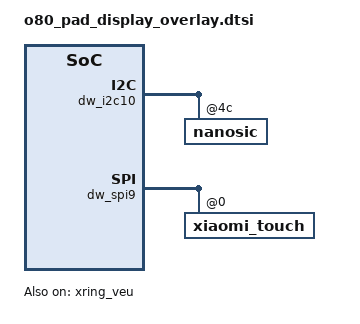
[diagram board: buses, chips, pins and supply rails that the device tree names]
// SPDX-License-Identifier: GPL-2.0+
/*
 * Display subsystem overlay dts for X-Ring Franklin
 *
 * (C) Copyright 2023 - 2023, X-Ring, Inc.
 */
#include "../../../../panel/fake_dsi_panel.dtsi"
#include "../../../../panel/dsi_panel_o80_42_02_0a_p1_dualdsi_dsc_cmd.dtsi"
#include "../../../../panel/dsi_panel_o80_42_02_0a_p2_dualdsi_dsc_cmd.dtsi"
#include "../../../../panel/dsi_panel_o80_42_02_0a_p3_dualdsi_dsc_cmd.dtsi"
#include <dt-bindings/xring/platform-specific/pmic/pmic_regulator_def.h>

&dsi_panel_o80_42_02_0a_p1_dualdsi_dsc_cmd {
	status = "okay";
	pinctrl-names = "work", "sleep", "te_work", "te_gpio";
	pinctrl-0 = <&gpio_086_work &gpio_231_work &gpio_180_work &ddic0_te_default>;
	pinctrl-1 = <&gpio_086_sleep &gpio_231_sleep &gpio_180_sleep &ddic0_te_sleep>;
	pinctrl-2 = <&ddic0_te_default>;
	pinctrl-3 = <&ddic0_gpio_default>;

	/* used in kernel
	 * dsi-panel-power-seq: the sequence of the power on IO property name
	 * dsi-panel-power-type: the power supply type
	 * dsi-panel-power-on-state: the power on state sequeue pair <level delay>
	 * level:   0-pull down  1-pull up
	 * delay:   the delay(ms) after IO operation
	 */
	dsi-panel-vddio-supply = <&mldo8>;
	dsi-panel-dvdd-en-gpio = <&dw_gpio3 5 0>; // 86
	dsi-panel-vbat-en-gpio = <&dw_gpio7 16 0>; // 231
	dsi-panel-vci-en-supply = <&hldo9>;
	dsi-panel-power-seq = "dsi-panel-vbat-en-gpio",
				"dsi-panel-vddio",
				"dsi-panel-dvdd-en-gpio",
				"dsi-panel-vci-en";
	dsi-panel-power-type =  "GPIO", "LDO", "GPIO", "LDO";
	dsi-panel-power-on-state = <1 1>, <1 1>, <1 1>, <1 10>;
	dsi-panel-power-off-state = <0 1>, <0 8>, <0 5>, <0 1>;

	dsi-panel-reset-gpio = <&dw_gpio5 29 0>;  // 180
	dsi-panel-reset-state = <1 1>, <0 1>, <1 10>;

	/* used in uefi
	 * Sequence Pattern: io_type io_id seq_num level_0 delay_0 [level_1 delay_1 ...]
	 * io_type: 0-INVALID 1-GPIO 2-LDO
	 * seq_num: number of sequeue pair{level delay}
	 * level:   0-pull down  1-pull up
	 * delay:   the delay(ms) after IO operation
	 */
	dsi-panel-power-on-seq = <1 231 1 1 1>, /* vbat_en */
				<2 MPMIC_MLDO8 1 1 1>, /* vddio */
				<1 86 1 1 1>, /* dvdd_en */
				<2 MPMIC_HLDO9 1 1 10>; /* vci */
	dsi-panel-reset-on-seq = <1 180 3 1 1 0 1 1 10>; /* reset */

	dsi-panel-power-off-seq = <2 MPMIC_HLDO9 1 0 1>, /* vci */
				<1 86 1 0 1>, /* dvdd_en */
				<2 MPMIC_MLDO8 1 0 5>, /* vddio */
				<1 231 1 0 1>; /* vbat_en */
	dsi-panel-reset-off-seq = <1 180 1 0 2>; /* reset */

	dsi-panel-port-mask = /bits/ 8 <0x03>; // 0011
	dsi-panel-aod-enable;
	dsi-panel-idle-policy = <0x386>;
	//partial-update-enabled;
	dsi-panel-te-gpio-num = <141>; // 141
};

&dsi_panel_o80_42_02_0a_p2_dualdsi_dsc_cmd {
	status = "okay";
	pinctrl-names = "work", "sleep", "te_work", "te_gpio";
	pinctrl-0 = <&gpio_086_work &gpio_231_work &gpio_180_work &ddic0_te_default>;
	pinctrl-1 = <&gpio_086_sleep &gpio_231_sleep &gpio_180_sleep &ddic0_te_sleep>;
	pinctrl-2 = <&ddic0_te_default>;
	pinctrl-3 = <&ddic0_gpio_default>;

	/* used in kernel
	 * dsi-panel-power-seq: the sequence of the power on IO property name
	 * dsi-panel-power-type: the power supply type
	 * dsi-panel-power-on-state: the power on state sequeue pair <level delay>
	 * level:   0-pull down  1-pull up
	 * delay:   the delay(ms) after IO operation
	 */
	dsi-panel-vddio-supply = <&mldo8>;
	dsi-panel-dvdd-en-gpio = <&dw_gpio3 5 0>; // 86
	dsi-panel-vbat-en-gpio = <&dw_gpio7 16 0>; // 231
	dsi-panel-vci-en-supply = <&hldo9>;
	dsi-panel-power-seq = "dsi-panel-vbat-en-gpio",
				"dsi-panel-vddio",
				"dsi-panel-dvdd-en-gpio",
				"dsi-panel-vci-en";
	dsi-panel-power-type =  "GPIO", "LDO", "GPIO", "LDO";
	dsi-panel-power-on-state = <1 1>, <1 1>, <1 1>, <1 10>;
	dsi-panel-power-off-state = <0 1>, <0 8>, <0 5>, <0 1>;

	dsi-panel-reset-gpio = <&dw_gpio5 29 0>;  // 180
	dsi-panel-reset-state = <1 1>, <0 1>, <1 10>;

	/* used in uefi
	 * Sequence Pattern: io_type io_id seq_num level_0 delay_0 [level_1 delay_1 ...]
	 * io_type: 0-INVALID 1-GPIO 2-LDO
	 * seq_num: number of sequeue pair{level delay}
	 * level:   0-pull down  1-pull up
	 * delay:   the delay(ms) after IO operation
	 */
	dsi-panel-power-on-seq = <1 231 1 1 1>, /* vbat_en */
				<2 MPMIC_MLDO8 1 1 1>, /* vddio */
				<1 86 1 1 1>, /* dvdd_en */
				<2 MPMIC_HLDO9 1 1 10>; /* vci */
	dsi-panel-reset-on-seq = <1 180 3 1 1 0 1 1 10>; /* reset */

	dsi-panel-power-off-seq = <2 MPMIC_HLDO9 1 0 1>, /* vci */
				<1 86 1 0 1>, /* dvdd_en */
				<2 MPMIC_MLDO8 1 0 5>, /* vddio */
				<1 231 1 0 1>; /* vbat_en */
	dsi-panel-reset-off-seq = <1 180 1 0 2>; /* reset */

	dsi-panel-port-mask = /bits/ 8 <0x03>; // 0011
	dsi-panel-aod-enable;
	dsi-panel-idle-policy = <0x386>;
	//partial-update-enabled;
	dsi-panel-te-gpio-num = <141>; // 141
};

&dsi_panel_o80_42_02_0a_p3_dualdsi_dsc_cmd {
	status = "okay";
	pinctrl-names = "work", "sleep", "te_work", "te_gpio";
	pinctrl-0 = <&gpio_086_work &gpio_231_work &gpio_180_work &ddic0_te_default>;
	pinctrl-1 = <&gpio_086_sleep &gpio_231_sleep &gpio_180_sleep &ddic0_te_sleep>;
	pinctrl-2 = <&ddic0_te_default>;
	pinctrl-3 = <&ddic0_gpio_default>;

	/* used in kernel
	 * dsi-panel-power-seq: the sequence of the power on IO property name
	 * dsi-panel-power-type: the power supply type
	 * dsi-panel-power-on-state: the power on state sequeue pair <level delay>
	 * level:   0-pull down  1-pull up
	 * delay:   the delay(ms) after IO operation
	 */
	dsi-panel-vddio-supply = <&mldo8>;
	dsi-panel-dvdd-en-gpio = <&dw_gpio3 5 0>; // 86
	dsi-panel-vbat-en-gpio = <&dw_gpio7 16 0>; // 231
	dsi-panel-vci-en-supply = <&hldo9>;
	dsi-panel-power-seq = "dsi-panel-vbat-en-gpio",
				"dsi-panel-vddio",
				"dsi-panel-dvdd-en-gpio",
				"dsi-panel-vci-en";
	dsi-panel-power-type =  "GPIO", "LDO", "GPIO", "LDO";
	dsi-panel-power-on-state = <1 1>, <1 1>, <1 1>, <1 10>;
	dsi-panel-power-off-state = <0 1>, <0 8>, <0 5>, <0 1>;

	dsi-panel-reset-gpio = <&dw_gpio5 29 0>;  // 180
	dsi-panel-reset-state = <1 1>, <0 1>, <1 10>;

	/* used in uefi
	 * Sequence Pattern: io_type io_id seq_num level_0 delay_0 [level_1 delay_1 ...]
	 * io_type: 0-INVALID 1-GPIO 2-LDO
	 * seq_num: number of sequeue pair{level delay}
	 * level:   0-pull down  1-pull up
	 * delay:   the delay(ms) after IO operation
	 */
	dsi-panel-power-on-seq = <1 231 1 1 1>, /* vbat_en */
				<2 MPMIC_MLDO8 1 1 1>, /* vddio */
				<1 86 1 1 1>, /* dvdd_en */
				<2 MPMIC_HLDO9 1 1 10>; /* vci */
	dsi-panel-reset-on-seq = <1 180 3 1 1 0 1 1 10>; /* reset */

	dsi-panel-power-off-seq = <2 MPMIC_HLDO9 1 0 1>, /* vci */
				<1 86 1 0 1>, /* dvdd_en */
				<2 MPMIC_MLDO8 1 0 5>, /* vddio */
				<1 231 1 0 1>; /* vbat_en */
	dsi-panel-reset-off-seq = <1 180 1 0 2>; /* reset */

	dsi-panel-port-mask = /bits/ 8 <0x03>; // 0011
	dsi-panel-aod-enable;
	dsi-panel-idle-policy = <0x386>;
	//partial-update-enabled;
	dsi-panel-te-gpio-num = <141>; // 141
};


&fake_dsi_panel {
	status = "okay";
	dsi-panel-port-mask = /bits/ 8 <0x01>; // 0001
	dsi-panel-idle-policy = <0x0>;
};

&xring_veu {
	status = "okay";
};

&pinctrl_configs {
	/* Only for display */
	gpio_086_work: gpio_086_work {
		mux {
			pins = "PAD_GPIO_086";
			function = "GPIO";
		};
		pinconf {
			pins = "PAD_GPIO_086";
			bias-disable;
			drive-strength= <1>;
			slew-rate= <0>;
			input-schmitt-disable;
		};
	};
	gpio_180_work: gpio_180_work {
		mux {
			pins = "PAD_GPIO_180";
			function = "GPIO";
		};
		pinconf {
			pins = "PAD_GPIO_180";
			bias-disable;
			drive-strength= <1>;
			slew-rate= <0>;
			input-schmitt-disable;
		};
	};
	gpio_231_work: gpio_231_work {
		mux {
			pins = "PAD_GPIO_231";
			function = "GPIO";
		};
		pinconf {
			pins = "PAD_GPIO_231";
			bias-disable;
			drive-strength= <1>;
			slew-rate= <0>;
			input-schmitt-disable;
		};
	};
};

&xring_dsi_display {
	/*
	 * The `lcd_detect_type` property has three options:
	 * 0: Detect by lcd_name
	 * 1: Detect by lcd_gpio_id
	 * 2: Detect by lcd_build_id
	 */
	lcd_detect_type = <2>;
	lcd_name = "dsi_panel_o80_42_02_0a_p1_dualdsi_dsc_cmd";

	/* select lcd_name according to build id
	 * build_id: the array of product build id
	 * build_id_name string array of panel dts node name
	 */
	build_id = <0x00 0x10 0x11 0x40 0x41 0x50 0x80 0x81 0xC0>;
	build_id_name = "dsi_panel_o80_42_02_0a_p1_dualdsi_dsc_cmd",//p00
			"dsi_panel_o80_42_02_0a_p1_dualdsi_dsc_cmd",//p01
			"dsi_panel_o80_42_02_0a_p1_dualdsi_dsc_cmd",//p01
			"dsi_panel_o80_42_02_0a_p2_dualdsi_dsc_cmd",//p10
			"dsi_panel_o80_42_02_0a_p2_dualdsi_dsc_cmd",//p10
			"dsi_panel_o80_42_02_0a_p2_dualdsi_dsc_cmd",//p11
			"dsi_panel_o80_42_02_0a_p3_dualdsi_dsc_cmd",//p20
			"dsi_panel_o80_42_02_0a_p3_dualdsi_dsc_cmd",//p21
			"dsi_panel_o80_42_02_0a_p3_dualdsi_dsc_cmd";//MP

	scene_id = <0>;

	dsi-panel = <&dsi_panel_o80_42_02_0a_p1_dualdsi_dsc_cmd>,
				<&dsi_panel_o80_42_02_0a_p2_dualdsi_dsc_cmd>,
				<&dsi_panel_o80_42_02_0a_p3_dualdsi_dsc_cmd>,
				<&fake_dsi_panel>;
};

&dw_i2c10 {
	nanosic@4c {
		dsi-panel = <&dsi_panel_o80_42_02_0a_p1_dualdsi_dsc_cmd>,
				<&dsi_panel_o80_42_02_0a_p2_dualdsi_dsc_cmd>,
				<&dsi_panel_o80_42_02_0a_p3_dualdsi_dsc_cmd>,
				<&fake_dsi_panel>;
	};
};

&{/} {
	thermal_screen: thermal-screen {
		panel = <&dsi_panel_o80_42_02_0a_p1_dualdsi_dsc_cmd>,
				<&dsi_panel_o80_42_02_0a_p2_dualdsi_dsc_cmd>,
				<&dsi_panel_o80_42_02_0a_p3_dualdsi_dsc_cmd>,
				<&fake_dsi_panel>;
	};

	fingerprint_screen: fingerprint-screen {
		panel = <&dsi_panel_o80_42_02_0a_p1_dualdsi_dsc_cmd>,
				<&dsi_panel_o80_42_02_0a_p2_dualdsi_dsc_cmd>,
				<&dsi_panel_o80_42_02_0a_p3_dualdsi_dsc_cmd>,
				<&fake_dsi_panel>;
	};

	charge_screen: charge-screen {
		panel = <&dsi_panel_o80_42_02_0a_p1_dualdsi_dsc_cmd>,
				<&dsi_panel_o80_42_02_0a_p2_dualdsi_dsc_cmd>,
				<&dsi_panel_o80_42_02_0a_p3_dualdsi_dsc_cmd>,
				<&fake_dsi_panel>;
	};

	wifi_screen: wifi-screen {
		panel = <&dsi_panel_o80_42_02_0a_p1_dualdsi_dsc_cmd>,
				<&dsi_panel_o80_42_02_0a_p2_dualdsi_dsc_cmd>,
				<&dsi_panel_o80_42_02_0a_p3_dualdsi_dsc_cmd>,
				<&fake_dsi_panel>;
	};
};

&dw_spi9 {
	xiaomi_touch@0 {
		dsi-panel = <&dsi_panel_o80_42_02_0a_p1_dualdsi_dsc_cmd>,
				<&dsi_panel_o80_42_02_0a_p2_dualdsi_dsc_cmd>,
				<&dsi_panel_o80_42_02_0a_p3_dualdsi_dsc_cmd>,
				<&fake_dsi_panel>;
	};
};

&xring_dp_display {
	max-link-rate = <2>; //5.4G
	init-swing-level = <1>;
	init-preemp-level = <0>;
	signal-table = <0 2 0 0 64 6>, /* link_rate, swing_lvl, preemp_lvl, pre, main, post */
			<0 2 1 0 74 22>,
			<1 1 2 0 70 26>;
};

&mldo8 {
	regulator-state-mem {
		regulator-on-in-suspend;
	};
};

&hldo9 {
	regulator-state-mem {
		regulator-on-in-suspend;
	};
};
